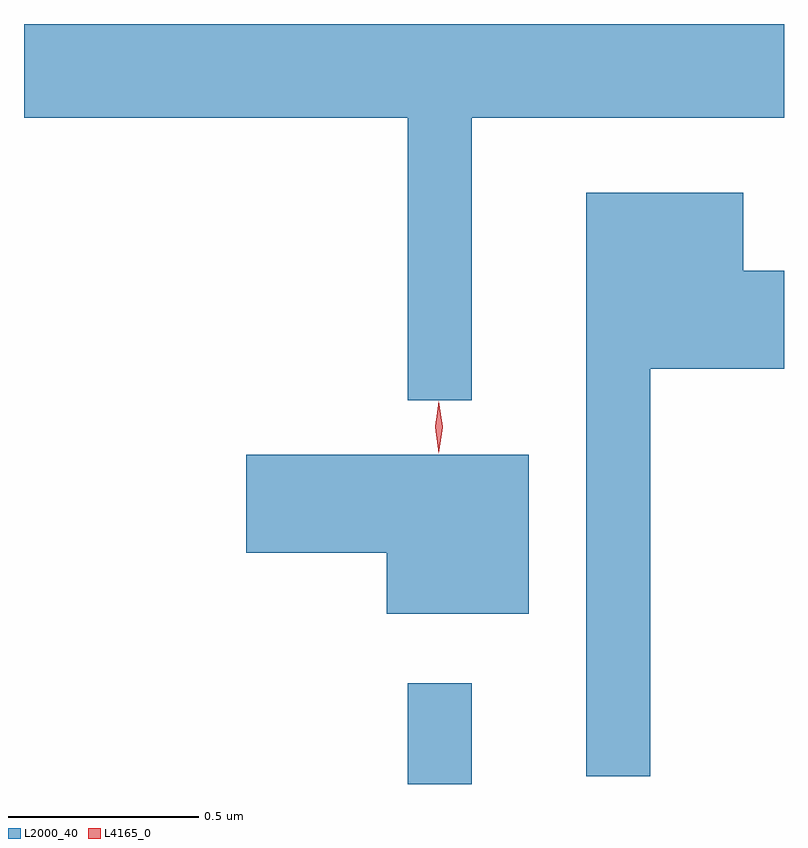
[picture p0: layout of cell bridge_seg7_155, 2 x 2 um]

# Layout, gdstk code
import gdstk
lib = gdstk.Library(unit=1e-6, precision=1e-09)
def R(c, l, rs):  # rectangles x0, y0, x1, y1
    for r in rs: c.add(gdstk.rectangle(r[:2], r[2:], *l))
def P(c, l, *ps):  # polygons
    for p in ps: c.add(gdstk.Polygon(p, *l))
L2000_40 = (2000, 40)
L4165_0 = (4165, 0)

bridge_seg7_155 = lib.new_cell('bridge_seg7_155')
R(bridge_seg7_155, L2000_40, [(1630.971,1703.683,1631.139,1703.948)])
P(bridge_seg7_155, L2000_40, [(1631.139,1705.436),(1631.961,1705.436),(1631.961,1705.683),(1629.961,1705.683),(1629.961,1705.436),(1630.971,1705.436),(1630.971,1704.693),(1631.139,1704.693)],
  [(1631.609,1704.776),(1631.961,1704.776),(1631.961,1705.034),(1631.854,1705.034),(1631.854,1705.239),(1631.441,1705.239),(1631.441,1703.703),(1631.609,1703.703)],
  [(1631.289,1704.549),(1630.546,1704.549),(1630.546,1704.291),(1630.916,1704.291),(1630.916,1704.131),(1631.289,1704.131)])
P(bridge_seg7_155, L4165_0, [(1631.052,1704.554),(1631.043,1704.622),(1631.052,1704.69),(1631.053,1704.69),(1631.053,1704.69),(1631.063,1704.622),(1631.053,1704.554),(1631.053,1704.554)],
  [(1631.052,1704.56),(1631.043,1704.624),(1631.052,1704.686),(1631.053,1704.687),(1631.053,1704.686),(1631.063,1704.624),(1631.053,1704.56),(1631.053,1704.56)])

lib.write_gds('bridge_seg7_155.gds')
